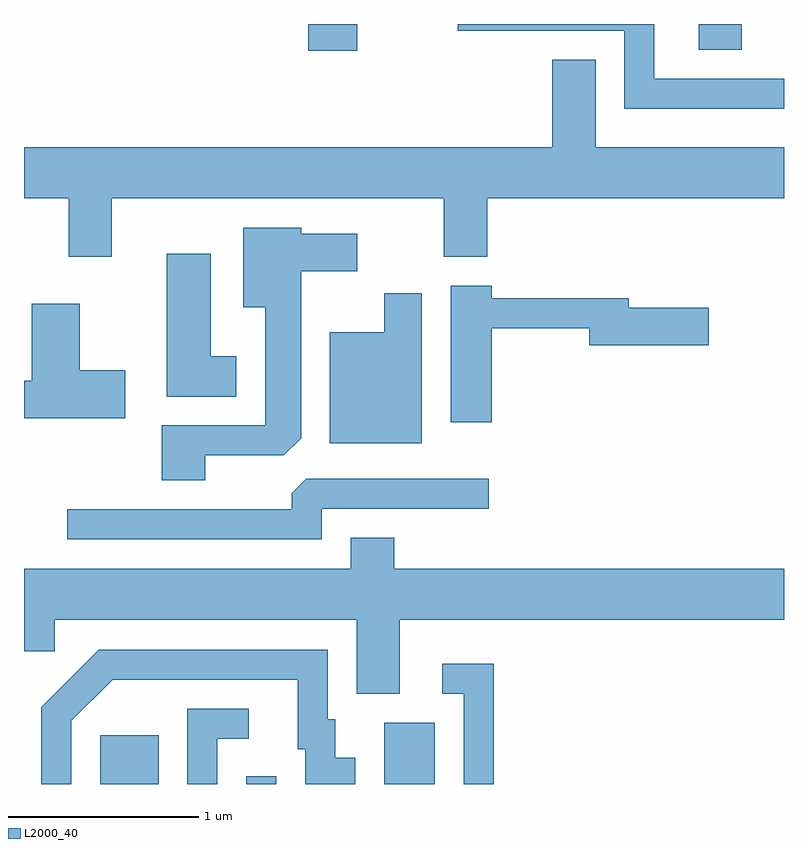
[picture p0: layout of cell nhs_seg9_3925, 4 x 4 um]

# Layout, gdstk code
import gdstk
lib = gdstk.Library(unit=1e-6, precision=1e-09)
def R(c, l, rs):  # rectangles x0, y0, x1, y1
    for r in rs: c.add(gdstk.rectangle(r[:2], r[2:], *l))
def P(c, l, *ps):  # polygons
    for p in ps: c.add(gdstk.Polygon(p, *l))
L2000_40 = (2000, 40)

nhs_seg9_3925 = lib.new_cell('nhs_seg9_3925')
R(nhs_seg9_3925, L2000_40, [(300.011,2066.432,300.319,2066.689), (300.781,2066.432,300.939,2066.472), (301.506,2066.432,301.774,2066.754), (301.106,2070.291,301.364,2070.432), (303.161,2070.296,303.389,2070.432)])
P(nhs_seg9_3925, L2000_40, [(303.611,2070.144),(302.929,2070.144),(302.929,2070.432),(301.893,2070.432),(301.893,2070.396),(302.771,2070.396),(302.771,2069.986),(303.611,2069.986)],
  [(300.074,2069.516),(301.821,2069.516),(301.821,2069.206),(302.049,2069.206),(302.049,2069.516),(303.611,2069.516),(303.611,2069.784),(302.619,2069.784),(302.619,2070.244),(302.391,2070.244),(302.391,2069.784),(299.611,2069.784),(299.611,2069.516),(299.846,2069.516),(299.846,2069.206),(300.074,2069.206)],
  [(300.564,2068.161),(300.979,2068.161),(301.069,2068.251),(301.069,2069.131),(301.364,2069.131),(301.364,2069.329),(301.069,2069.329),(301.069,2069.359),(300.766,2069.359),(300.766,2068.941),(300.881,2068.941),(300.881,2068.319),(300.336,2068.319),(300.336,2068.031),(300.564,2068.031)],
  [(300.729,2068.684),(300.594,2068.684),(300.594,2069.224),(300.361,2069.224),(300.361,2068.471),(300.729,2068.471)],
  [(302.074,2068.831),(302.586,2068.831),(302.586,2068.741),(303.214,2068.741),(303.214,2068.939),(302.794,2068.939),(302.794,2068.989),(302.074,2068.989),(302.074,2069.054),(301.856,2069.054),(301.856,2068.336),(302.074,2068.336)],
  [(301.704,2069.014),(301.506,2069.014),(301.506,2068.809),(301.221,2068.809),(301.221,2068.226),(301.704,2068.226)],
  [(300.144,2068.609),(299.904,2068.609),(299.904,2068.959),(299.651,2068.959),(299.651,2068.554),(299.611,2068.554),(299.611,2068.356),(300.144,2068.356)],
  [(301.179,2067.881),(302.058,2067.881),(302.058,2068.039),(301.097,2068.039),(301.021,2067.963),(301.021,2067.879),(299.838,2067.879),(299.838,2067.721),(301.179,2067.721)],
  [(301.589,2067.296),(303.611,2067.296),(303.611,2067.564),(301.559,2067.564),(301.559,2067.729),(301.331,2067.729),(301.331,2067.564),(299.611,2067.564),(299.611,2067.131),(299.774,2067.131),(299.774,2067.296),(301.361,2067.296),(301.361,2066.906),(301.589,2066.906)],
  [(299.859,2066.764),(300.077,2066.981),(301.051,2066.981),(301.051,2066.616),(301.091,2066.616),(301.091,2066.432),(301.354,2066.432),(301.354,2066.569),(301.249,2066.569),(301.249,2066.774),(301.209,2066.774),(301.209,2067.139),(300.004,2067.139),(299.701,2066.837),(299.701,2066.432),(299.859,2066.432)],
  [(302.084,2067.064),(301.813,2067.064),(301.813,2066.906),(301.926,2066.906),(301.926,2066.432),(302.084,2066.432)],
  [(300.629,2066.671),(300.793,2066.671),(300.793,2066.829),(300.471,2066.829),(300.471,2066.432),(300.629,2066.432)])

lib.write_gds('nhs_seg9_3925.gds')
